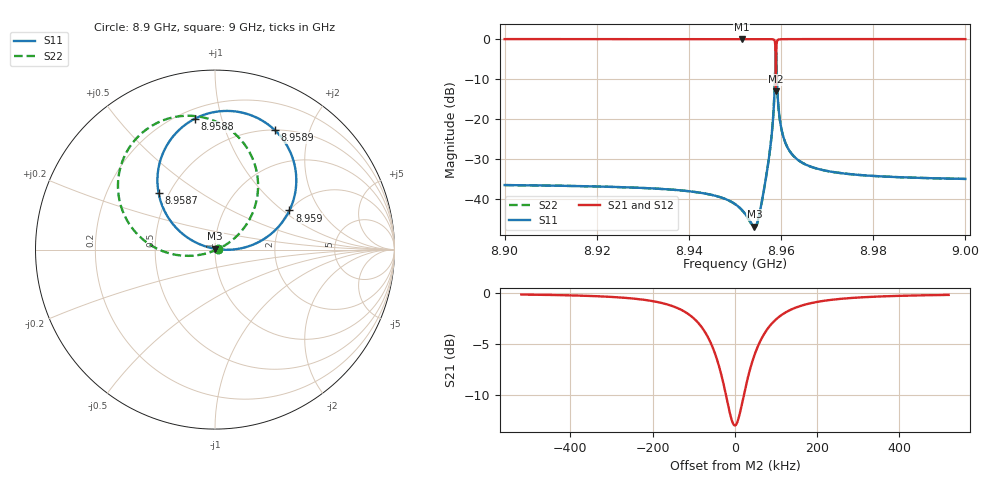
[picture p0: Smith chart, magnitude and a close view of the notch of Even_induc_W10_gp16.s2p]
! Sonnet Data File
! From: emgraph Version : 16.52
! From Project: Resonator2_cp
! Data is De-embedded
! Data File Written: 10/09/2017 00:47:18
!< HDATE 10/08/2017 10:09:33
!< MDATE 10/08/2017 10:09:33
!< PARAMS
!< Length = 400.0
!< Pwid1 = 2000.0
!< Pwid2 = 2000.0
!< Air_gap = 6.0
!< Width = 10.0
!< gap = 16.0
!< END PARAMS
# GHZ S MA R 51.00000
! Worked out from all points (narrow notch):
!   1596 points, 8.9 GHz to 9 GHz, reference 51 ohm
!   highest |S21| = 0.00 dB at 8.9515 GHz (marker M1); lowest = -13.0 dB at 8.9589 GHz (marker M2)
!   notch at M2: 13.0 dB deep, 87.6 kHz wide at half that depth
!   lowest |S11| = -46.8 dB at 8.9542 GHz (marker M3), VSWR 1.01, Z = 51.1 + j0.457 ohm
!   |S11| at or under -10 dB: start of sweep to 8.9587 GHz; 8.959089 GHz to end of sweep
!   |S22| runs from -47.1 to -2.2 dB; largest |S21 - S12| = 0
!   S11 on the Smith chart (normalised r, x): 8.9 GHz: 1.03, +0.01; 8.9587 GHz: 0.44, +0.35; 8.9588 GHz: 0.26, +0.82; 8.9589 GHz: 0.50, +1.50; 8.959 GHz: 2.00, +1.12; 9 GHz: 1.04, +0.00
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8.9  0.01502 9.5  0.9999 -81.5  0.9999 -81.5  0.01502 7.5
!< P1 F=8.9 Eeff=(6.44673582 -2.972e-5) Z0=(51.7989596 1.19519e-4) R=0.0 C=0.0
!< P2 F=8.9 Eeff=(6.44673582 -2.972e-5) Z0=(51.7989596 1.19519e-4) R=0.0 C=0.0
8.9167  0.01457 9.9  0.9999 -81.7  0.9999 -81.7  0.01457 6.7
8.9334  0.01351 11.2  0.9999 -81.9  0.9999 -81.9  0.01351 5.0
8.95  0.008708 22.5  0.9999 -82.4  0.9999 -82.4  0.008687 -7.0
8.9515  0.007347 29.1  0.9999 -82.5  0.9999 -82.5  0.007312 -13.7
8.9542  0.004558 79.1  0.9999 -82.8  0.9999 -82.8  0.004417 -64.7
8.955394  0.006929 128.8  0.9999 -83.2  0.9999 -83.2  0.006764 -116.7
8.9575  0.0374 160.6  0.9985 -85.0  0.9985 -85.0  0.03721 -153.0
8.958298  0.1097 159.8  0.9895 -89.2  0.9895 -89.2  0.1094 -162.9
8.958598  0.2383 151.4  0.9523 -96.6  0.9523 -96.6  0.2376 -173.9
8.958741  0.4467 134.8  0.8249 -109.0  0.8249 -109.0  0.4455 168.4
8.958839  0.7375 98.8  0.3775 -120.3  0.3775 -120.3  0.7356 131.7
8.95887  0.7783 80.7  0.2227 -82.7  0.2227 -82.7  0.7763 113.4
8.958899  0.7449 63.5  0.3654 -45.4  0.3654 -45.4  0.743 96.0
8.958997  0.4688 27.7  0.8136 -55.3  0.8136 -55.3  0.4676 59.5
8.959154  0.2554 10.4  0.9497 -68.1  0.9497 -68.1  0.2548 41.1
8.9595  0.1286 1.8  0.988 -75.5  0.988 -75.5  0.1284 30.5
8.960602  0.05733 -1.0  0.9979 -79.6  0.9979 -79.6  0.05726 22.7
8.9627  0.03471 0.3  0.9993 -81.0  0.9993 -81.0  0.03468 18.1
8.9667  0.02521 2.5  0.9997 -81.5  0.9997 -81.5  0.0252 14.6
8.9834  0.01907 5.3  0.9998 -82.0  0.9998 -82.0  0.01907 10.7
9  0.01793 5.9  0.9998 -82.3  0.9998 -82.3  0.01793 9.6
